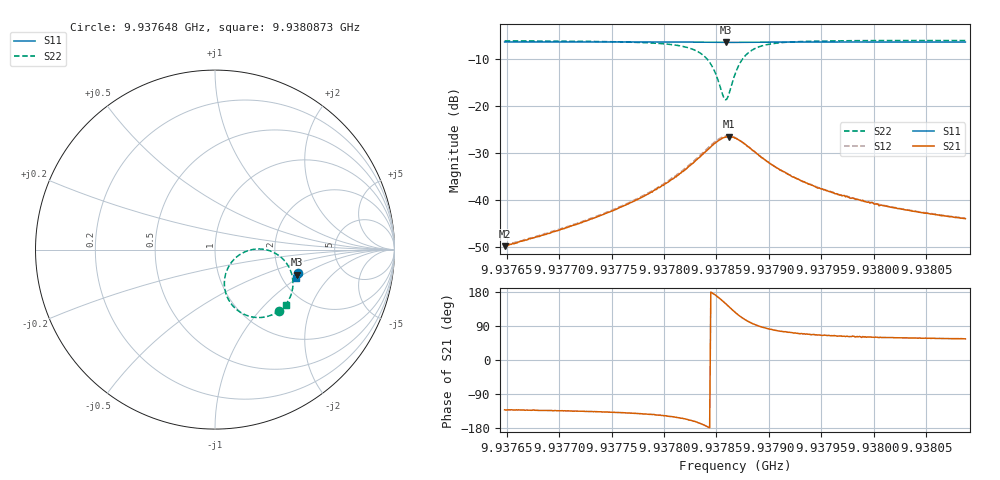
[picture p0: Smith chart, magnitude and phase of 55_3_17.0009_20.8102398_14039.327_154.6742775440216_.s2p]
#  HZ  S  RI  R  50.00
! Rohde & Schwarz Vector Network Analyzer
! Rohde-Schwarz,ZNB20-2Port,1311601062101988,3.16
! Created: UTC 3/20/2024, 10:54:34 PM
! freq[Hz]  re:S11  im:S11  re:S21  im:S21  re:S12  im:S12  re:S22  im:S22
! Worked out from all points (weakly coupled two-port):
!   401 points, 9.937648 GHz to 9.9380873 GHz, reference 50 ohm
!   highest |S21| = -26.55 dB at 9.9378621 GHz (marker M1); lowest = -49.9 dB at 9.937648 GHz (marker M2)
!   lowest |S11| = -6.5 dB at 9.9378589 GHz (marker M3), VSWR 2.81, Z = 122 - j44.2 ohm
!   |S11| at or under -10 dB: nowhere
!   |S22| runs from -18.7 to -6.0 dB; largest |S21 - S12| = 0.003
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9.93764798e9  0.4643 -0.1288  -0.00212 -0.0024  -0.00216 -0.00242  0.3585 -0.3399
9.93772157e9  0.4624 -0.1341  -0.00404 -0.00401  -0.00422 -0.00403  0.337 -0.354
9.9377644e9  0.4611 -0.1371  -0.00678 -0.00576  -0.00703 -0.00578  0.3109 -0.3664
9.93779515e9  0.4599 -0.1395  -0.0111 -0.00759  -0.0115 -0.00759  0.2717 -0.3764
9.93782151e9  0.4583 -0.1414  -0.0197 -0.00851  -0.0206 -0.00842  0.1973 -0.373
9.93783689e9  0.4566 -0.1425  -0.03 -0.00527  -0.0314 -0.00458  0.1161 -0.3303
9.93784238e9  0.456 -0.1423  -0.0346 -0.00146  -0.0362 -0.000322  0.0828 -0.2911
9.93784677e9  0.4553 -0.1421  -0.0383 0.00325  -0.0397 0.00501  0.0609 -0.2455
9.93785226e9  0.4547 -0.1417  -0.0413 0.0118  -0.0421 0.0143  0.053 -0.169
9.93785666e9  0.4543 -0.1407  -0.0411 0.0202  -0.041 0.023  0.0725 -0.1017
9.93785885e9  0.4542 -0.1403  -0.0395 0.0246  -0.0391 0.0273  0.0926 -0.0699
9.93786215e9  0.4544 -0.1399  -0.0359 0.0303  -0.0347 0.0329  0.134 -0.0307
9.93786764e9  0.4553 -0.1394  -0.0266 0.0367  -0.025 0.0387  0.2177 0.00193
9.93787203e9  0.456 -0.1391  -0.0189 0.0385  -0.017 0.0397  0.2816 -0.000345
9.93787643e9  0.4568 -0.1393  -0.0122 0.0378  -0.0104 0.0382  0.3329 -0.0188
9.93788192e9  0.4575 -0.14  -0.00567 0.0351  -0.00429 0.0354  0.3771 -0.051
9.93788851e9  0.4581 -0.1407  -0.000725 0.0309  0.000457 0.0309  0.4084 -0.0913
9.93791377e9  0.4583 -0.1435  0.00528 0.0192  0.00575 0.0191  0.4345 -0.1925
9.93794123e9  0.4579 -0.1461  0.00555 0.0131  0.00587 0.0131  0.4267 -0.2414
9.93796868e9  0.4571 -0.148  0.00499 0.01  0.00529 0.00981  0.4175 -0.2666
9.93801481e9  0.4559 -0.1515  0.00433 0.00722  0.00446 0.00719  0.4055 -0.2895
9.9380873e9  0.4539 -0.1563  0.00353 0.00519  0.00367 0.00519  0.3931 -0.3074
